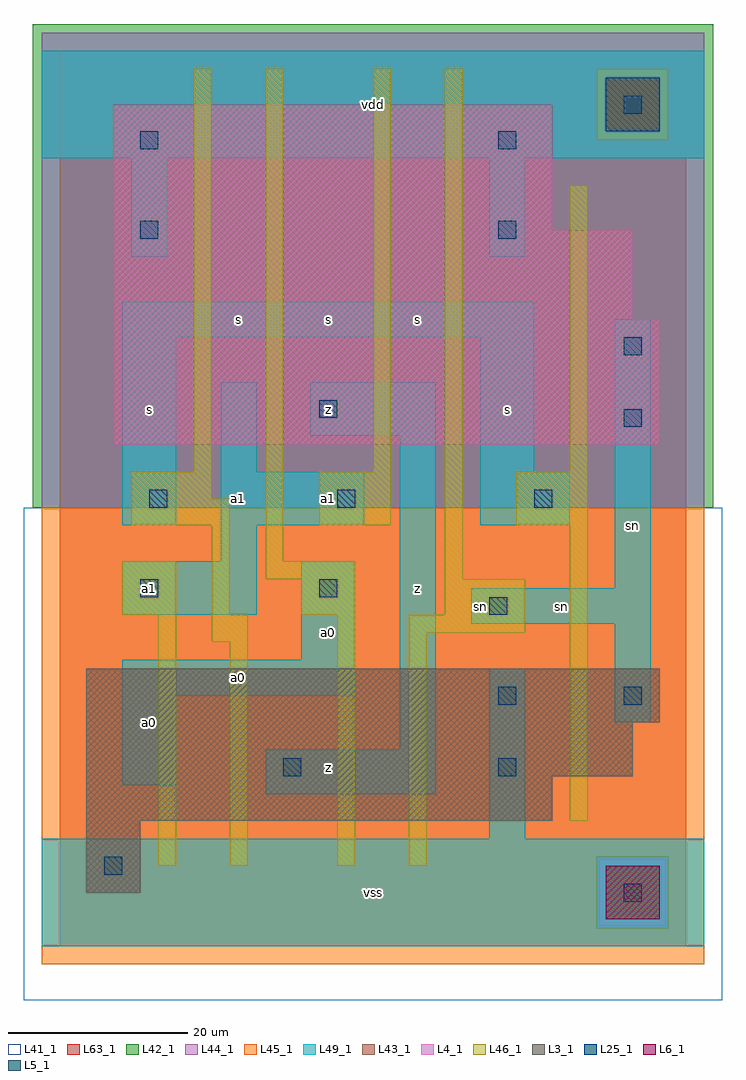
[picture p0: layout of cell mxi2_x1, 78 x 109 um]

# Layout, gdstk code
import gdstk
lib = gdstk.Library(unit=1e-6, precision=1e-09)
def R(c, l, rs):  # rectangles x0, y0, x1, y1
    for r in rs: c.add(gdstk.rectangle(r[:2], r[2:], *l))
L3_1 = (3, 1)
L4_1 = (4, 1)
L5_1 = (5, 1)
L6_1 = (6, 1)
L25_1 = (25, 1)
L41_1 = (41, 1)
L42_1 = (42, 1)
L43_1 = (43, 1)
L44_1 = (44, 1)
L45_1 = (45, 1)
L46_1 = (46, 1)
L49_1 = (49, 1)
L63_1 = (63, 1)

mxi2_x1 = lib.new_cell('mxi2_x1')
R(mxi2_x1, L3_1, [(3,6,9,14), (3,14,55,19), (3,19,64,25), (3,25,67,31)])
R(mxi2_x1, L4_1, [(6,56,67,70), (6,70,64,80), (6,80,55,94)])
R(mxi2_x1, L5_1, [(61,91,67,97)])
R(mxi2_x1, L6_1, [(61,3,67,9)])
R(mxi2_x1, L25_1, [(63,5,65,7), (5,8,7,10), (25,19,27,21), (49,19,51,21), (49,27,51,29), (63,27,65,29), (48,37,50,39), (9,39,11,41), (29,39,31,41), (10,49,12,51), (31,49,33,51), (53,49,55,51), (63,58,65,60), (29,59,31,61), (63,66,65,68), (9,79,11,81), (49,79,51,81), (9,89,11,91), (49,89,51,91), (63,93,65,95)])
R(mxi2_x1, L41_1, [(-4,-6,74,49), (-3,-3,73,49)])
R(mxi2_x1, L42_1, [(-3,49,73,103)])
R(mxi2_x1, L43_1, [(61,3,67,9), (3,6,9,14), (3,14,55,19), (3,19,64,25), (3,25,67,31), (6,56,67,70), (6,70,64,80), (6,80,55,94), (61,91,67,97)])
R(mxi2_x1, L44_1, [(60,2,68,10), (-2,49,72,90), (-2,90,60,98), (68,90,72,98), (-2,98,72,102)])
R(mxi2_x1, L45_1, [(-2,-2,72,2), (-2,2,60,10), (68,2,72,10), (-2,10,72,49), (60,90,68,98)])
R(mxi2_x1, L46_1, [(11,9,13,37), (19,9,21,34), (31,9,33,37), (39,9,41,35), (57,14,59,47), (17,34,21,37), (39,35,52,37), (7,37,13,43), (17,37,19,47), (27,37,33,41), (43,37,52,41), (23,41,33,43), (43,41,45,98), (23,43,25,98), (8,47,19,50), (29,47,37,53), (51,47,59,53), (8,50,17,53), (15,53,17,98), (35,53,37,98), (57,53,59,85)])
R(mxi2_x1, L49_1, [(-2,0,72,12), (48,12,52,31), (23,17,42,22), (7,18,13,28), (38,22,42,57), (62,25,66,36), (7,28,33,32), (27,32,33,43), (46,36,66,40), (7,37,22,43), (62,40,66,70), (18,43,22,47), (7,47,13,68), (18,47,34,53), (47,47,57,53), (18,53,22,63), (47,53,53,68), (28,57,42,63), (7,68,53,72), (8,77,12,88), (48,77,52,88), (-2,88,72,100)])
R(mxi2_x1, L63_1, [(0,0,70,100)])
mxi2_x1.add(gdstk.Label('sn', (47,38), layer=46, texttype=1))
mxi2_x1.add(gdstk.Label('a0', (10,25), layer=49, texttype=1))
mxi2_x1.add(gdstk.Label('a0', (10,25), layer=49, texttype=1))
mxi2_x1.add(gdstk.Label('a0', (20,30), layer=49, texttype=1))
mxi2_x1.add(gdstk.Label('a0', (20,30), layer=49, texttype=1))
mxi2_x1.add(gdstk.Label('a1', (10,40), layer=49, texttype=1))
mxi2_x1.add(gdstk.Label('a1', (10,40), layer=49, texttype=1))
mxi2_x1.add(gdstk.Label('a1', (20,50), layer=49, texttype=1))
mxi2_x1.add(gdstk.Label('a1', (20,50), layer=49, texttype=1))
mxi2_x1.add(gdstk.Label('s', (10,60), layer=49, texttype=1))
mxi2_x1.add(gdstk.Label('s', (10,60), layer=49, texttype=1))
mxi2_x1.add(gdstk.Label('s', (20,70), layer=49, texttype=1))
mxi2_x1.add(gdstk.Label('s', (20,70), layer=49, texttype=1))
mxi2_x1.add(gdstk.Label('vss', (35,6), layer=49, texttype=1))
mxi2_x1.add(gdstk.Label('vss', (35,6), layer=49, texttype=1))
mxi2_x1.add(gdstk.Label('z', (30,20), layer=49, texttype=1))
mxi2_x1.add(gdstk.Label('z', (30,20), layer=49, texttype=1))
mxi2_x1.add(gdstk.Label('a0', (30,35), layer=49, texttype=1))
mxi2_x1.add(gdstk.Label('a0', (30,35), layer=49, texttype=1))
mxi2_x1.add(gdstk.Label('a1', (30,50), layer=49, texttype=1))
mxi2_x1.add(gdstk.Label('a1', (30,50), layer=49, texttype=1))
mxi2_x1.add(gdstk.Label('z', (30,60), layer=49, texttype=1))
mxi2_x1.add(gdstk.Label('z', (30,60), layer=49, texttype=1))
mxi2_x1.add(gdstk.Label('s', (30,70), layer=49, texttype=1))
mxi2_x1.add(gdstk.Label('s', (30,70), layer=49, texttype=1))
mxi2_x1.add(gdstk.Label('vdd', (35,94), layer=49, texttype=1))
mxi2_x1.add(gdstk.Label('vdd', (35,94), layer=49, texttype=1))
mxi2_x1.add(gdstk.Label('z', (40,40), layer=49, texttype=1))
mxi2_x1.add(gdstk.Label('z', (40,40), layer=49, texttype=1))
mxi2_x1.add(gdstk.Label('s', (50,60), layer=49, texttype=1))
mxi2_x1.add(gdstk.Label('s', (50,60), layer=49, texttype=1))
mxi2_x1.add(gdstk.Label('s', (40,70), layer=49, texttype=1))
mxi2_x1.add(gdstk.Label('s', (40,70), layer=49, texttype=1))
mxi2_x1.add(gdstk.Label('sn', (56,38), layer=49, texttype=1))
mxi2_x1.add(gdstk.Label('sn', (64,47), layer=49, texttype=1))

lib.write_gds('mxi2_x1.gds')
